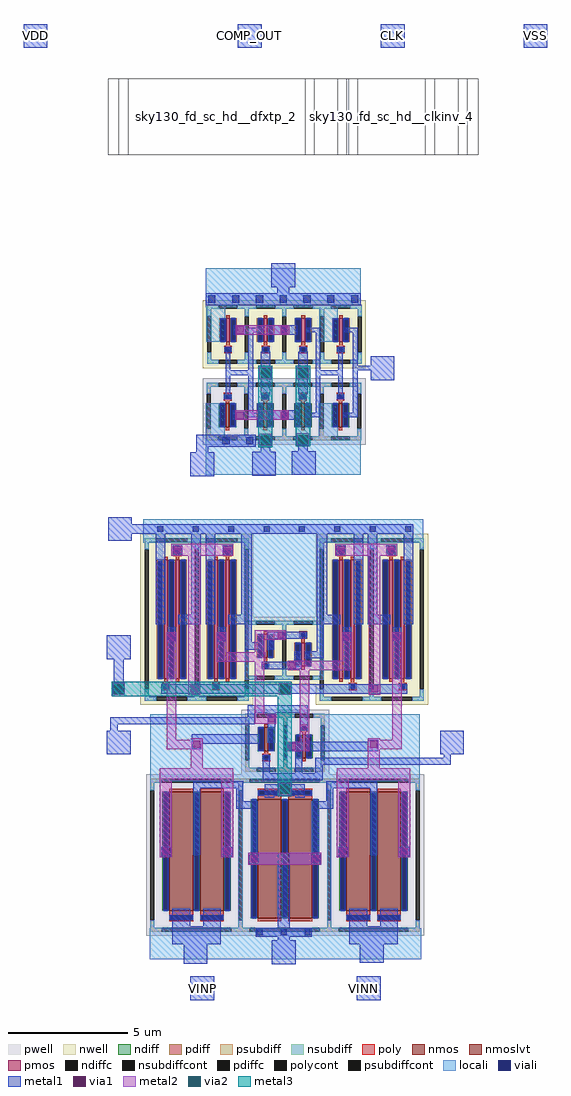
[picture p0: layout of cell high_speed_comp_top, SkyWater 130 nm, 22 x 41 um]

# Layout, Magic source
magic
tech sky130A
magscale 1 2
<< metal1 >>
rect -800 5400 -600 5600
rect 1000 5400 1200 5600
rect 2200 5400 2400 5600
rect 3400 5400 3600 5600
rect 600 -2600 800 -2400
rect 2000 -2600 2200 -2400
use strong_arm_latch_routed  x1
transform 1 0 -701 0 1 1063
box 600 -3363 3600 394
use post_amplifier_routed  x2
transform 1 0 -545 0 1 3167
box 1145 -1367 2860 422
use sky130_fd_sc_hd__dfxtp_2  x3 ~/old_home_mnt/asic/sky130_pdk/share/pdk/sky130A/libs.ref/sky130_fd_sc_hd/mag
transform 1 0 38 0 1 4548
box -38 -48 1602 592
use sky130_fd_sc_hd__clkinv_4  x4 ~/old_home_mnt/asic/sky130_pdk/share/pdk/sky130A/libs.ref/sky130_fd_sc_hd/mag
transform 1 0 1970 0 1 4548
box -38 -48 682 592
use sky130_fd_sc_hd__decap_3  x5 ~/old_home_mnt/asic/sky130_pdk/share/pdk/sky130A/libs.ref/sky130_fd_sc_hd/mag
transform 1 0 1602 0 1 4548
box -38 -48 314 592
use sky130_fd_sc_hd__tapvpwrvgnd_1  x6 ~/old_home_mnt/asic/sky130_pdk/share/pdk/sky130A/libs.ref/sky130_fd_sc_hd/mag
transform 1 0 1878 0 1 4548
box -38 -48 130 592
use sky130_fd_sc_hd__decap_3  x7
transform 1 0 2614 0 1 4548
box -38 -48 314 592
use sky130_fd_sc_hd__tapvpwrvgnd_1  x8
transform 1 0 2890 0 1 4548
box -38 -48 130 592
use sky130_fd_sc_hd__tapvpwrvgnd_1  x9
transform 1 0 -53 0 1 4548
box -38 -48 130 592
<< labels >>
flabel metal1 600 -2600 800 -2400 0 FreeSans 1600 0 0 0 VINP
port 0 nsew
flabel metal1 2000 -2600 2108 -2400 0 FreeSans 1600 0 0 0 VINN
port 1 nsew
flabel metal1 1000 5400 1200 5600 0 FreeSans 1600 0 0 0 COMP_OUT
port 5 nsew
flabel metal1 2200 5400 2400 5600 0 FreeSans 1600 0 0 0 CLK
port 4 nsew
flabel metal1 -800 5400 -600 5600 0 FreeSans 1600 0 0 0 VDD
port 2 nsew
flabel metal1 3400 5400 3600 5600 0 FreeSans 1600 0 0 0 VSS
port 3 nsew
<< end >>

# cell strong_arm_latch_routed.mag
magic
tech sky130A
magscale 1 2
<< metal1 >>
rect 610 194 810 394
rect 600 -800 800 -600
rect 600 -1600 800 -1400
rect 3400 -1600 3600 -1400
rect 1245 -3360 1445 -3160
rect 1986 -3363 2186 -3163
rect 2726 -3349 2926 -3149
rect 1153 79 1233 159
rect 1573 79 1653 159
rect 2529 79 2609 159
rect 2949 79 3029 159
rect 660 -1089 740 -660
rect 1057 -1089 3125 -1009
rect 668 254 1089 334
rect 1009 -505 1089 334
rect 1009 254 1391 334
rect 1311 -505 1391 334
rect 1201 -505 1391 -425
rect 1311 254 1509 334
rect 1429 -505 1509 334
rect 1429 254 1811 334
rect 1731 -505 1811 334
rect 1621 -505 1811 -425
rect 1731 254 1829 334
rect 1759 -719 1819 324
rect 1759 -719 1919 -659
rect 1749 254 2753 334
rect 2673 -505 2753 334
rect 2371 254 2753 334
rect 2371 -505 2451 334
rect 2371 -505 2561 -425
rect 2371 254 2871 334
rect 2791 -505 2871 334
rect 2791 -505 2981 -425
rect 2791 254 3173 334
rect 3093 -505 3173 334
rect 2353 254 3173 334
rect 2363 -791 2423 324
rect 2263 -791 2423 -731
rect 2036 -3313 2136 -3043
rect 2049 -3130 2323 -3056
rect 1849 -3130 2123 -3056
rect 2036 -3143 2136 -2427
rect 1270 -3335 1420 -3045
rect 1150 -3195 1420 -3045
rect 1150 -3195 1300 -2895
rect 1270 -3195 1558 -3045
rect 1408 -3195 1558 -2895
rect 2751 -3324 2901 -3045
rect 2637 -3195 2901 -3045
rect 2637 -3195 2787 -2895
rect 2751 -3195 3045 -3045
rect 2895 -3195 3045 -2895
rect 1324 -2445 1384 -1825
rect 1324 -1885 1747 -1825
rect 1687 -2055 1747 -1825
rect 1687 -2055 1867 -1995
rect 1807 -2507 1867 -1995
rect 2811 -2445 2871 -1825
rect 2443 -1885 2871 -1825
rect 2443 -2055 2503 -1825
rect 2323 -2055 2503 -1995
rect 2323 -2507 2383 -1995
rect 1056 -2455 1136 -2375
rect 1572 -2455 1652 -2375
rect 2543 -2455 2623 -2375
rect 3059 -2455 3139 -2375
rect 1314 -1555 1394 -1431
rect 1314 -1511 1885 -1431
rect 2801 -1573 2881 -1475
rect 2310 -1573 2881 -1493
rect 1909 -1816 1969 -1636
rect 1909 -1816 2242 -1756
rect 2182 -1816 2242 -1503
rect 2182 -1816 2412 -1756
rect 2352 -1816 2412 -1626
rect 2352 -1686 3490 -1626
rect 3430 -1686 3490 -1470
rect 2226 -1368 2286 -1188
rect 1953 -1248 2286 -1188
rect 1953 -1501 2013 -1188
rect 1783 -1248 2013 -1188
rect 1783 -1348 1843 -1188
rect 630 -1348 1843 -1288
rect 630 -1530 690 -1288
rect 1926 -1962 2006 -1852
rect 1926 -1932 2135 -1852
rect 2055 -1932 2264 -1852
rect 2184 -1962 2264 -1852
rect 1947 -627 2279 -567
rect 1947 -719 2007 -567
rect 1903 -883 2235 -823
rect 2175 -883 2235 -731
rect 2127 -1568 2247 -1498
rect 3002 -650 3072 -530
rect 1110 -650 1180 -530
rect 2582 -650 2652 -530
rect 1530 -650 1600 -530
rect 1797 -2517 1877 -2437
rect 2313 -2517 2393 -2437
<< via1 >>
rect 1163 89 1223 149
rect 1583 89 1643 149
rect 2539 89 2599 149
rect 2959 89 3019 149
rect 670 -1079 730 -1019
rect 1303 -1079 1363 -1019
rect 2819 -1079 2879 -1019
rect 1066 -2445 1126 -2385
rect 1582 -2445 1642 -2385
rect 2553 -2445 2613 -2385
rect 3069 -2445 3129 -2385
rect 1324 -1545 1384 -1485
rect 2811 -1545 2871 -1485
rect 2065 -1922 2125 -1862
rect 2065 -1080 2125 -1020
rect 2134 -1560 2189 -1505
rect 2134 -879 2189 -824
rect 1955 -1328 2010 -1273
rect 2035 -622 2090 -567
rect 3009 -642 3064 -587
rect 1117 -642 1172 -587
rect 2589 -642 2644 -587
rect 1537 -642 1592 -587
rect 1807 -2507 1867 -2447
rect 2323 -2507 2383 -2447
<< metal2 >>
rect 1143 69 1663 169
rect 2519 69 3039 169
rect 650 -1099 750 -999
rect 1283 -1099 1383 149
rect 2799 -1099 2899 149
rect 1046 -2465 1146 -1715
rect 1046 -1815 1662 -1715
rect 1562 -2465 1662 -1715
rect 2533 -2465 2633 -1715
rect 2533 -1815 3149 -1715
rect 3049 -2465 3149 -1715
rect 1304 -1815 1404 -1465
rect 2791 -1815 2891 -1465
rect 2045 -1942 2145 -1842
rect 2045 -1100 2145 -1000
rect 2122 -1573 2302 -1493
rect 2222 -1573 2302 -812
rect 2122 -892 2302 -812
rect 1843 -1341 2023 -1261
rect 1843 -1341 1923 -555
rect 1843 -635 2103 -555
rect 2997 -1555 3077 -575
rect 2801 -1555 3077 -1475
rect 1105 -1555 1185 -575
rect 1105 -1555 1394 -1475
rect 2577 -893 2657 -575
rect 2253 -893 2657 -813
rect 1525 -821 1605 -575
rect 1525 -821 1929 -741
rect 1787 -2527 2403 -2427
<< via2 >>
rect 660 -1089 740 -1009
rect 2055 -1932 2135 -1852
rect 2055 -1090 2135 -1010
<< metal3 >>
rect 640 -1109 2151 -989
rect 2035 -1952 2155 -990
<< viali >>
rect 1024 269 1074 319
rect 1321 269 1371 319
rect 1619 269 1669 319
rect 1917 269 1967 319
rect 2214 269 2264 319
rect 2512 269 2562 319
rect 2810 269 2860 319
rect 3108 269 3158 319
rect 2061 -3118 2111 -3068
rect 2261 -3118 2311 -3068
rect 1861 -3118 1911 -3068
<< locali >>
rect 960 -3320 3240 -3060
rect 1756 -500 2416 208
rect 906 180 3258 374
rect 966 -1820 1792 -1262
rect 1770 -1832 2432 -1714
rect 2400 -1820 3228 -1262
use sky130_fd_pr__nfet_01v8_lvt_GVGYYV  XM1
transform 1 0 1354 0 1 -2446
box -425 -679 425 679
use sky130_fd_pr__nfet_01v8_lvt_GVGYYV  XM2
transform 1 0 2841 0 1 -2446
box -425 -679 425 679
use sky130_fd_pr__nfet_01v8_lvt_URSRNG  XM3
transform 1 0 2095 0 1 -2446
box -425 -679 425 679
use sky130_fd_pr__nfet_01v8_CQH6Q5  XM4
transform 1 0 1939 0 1 -1502
box -211 -279 211 279
use sky130_fd_pr__nfet_01v8_WXMB3T  XM5
transform 1 0 2256 0 1 -1502
box -211 -279 211 279
use sky130_fd_pr__pfet_01v8_CZ2BPM  XM6
transform 1 0 1933 0 1 -725
box -211 -284 211 284
use sky130_fd_pr__pfet_01v8_NRXS53  XM7
transform 1 0 2249 0 1 -725
box -211 -284 211 284
use sky130_fd_pr__pfet_01v8_7PVLUA  XM8
transform 1 0 1565 0 1 -465
box -263 -719 263 719
use sky130_fd_pr__pfet_01v8_MV5BJT  XM9
transform 1 0 1145 0 1 -465
box -263 -719 263 719
use sky130_fd_pr__pfet_01v8_MV5BJT  XM10
transform -1 0 2617 0 1 -465
box -263 -719 263 719
use sky130_fd_pr__pfet_01v8_MV5BJT  XM11
transform -1 0 3037 0 1 -465
box -263 -719 263 719
<< labels >>
flabel metal1 1245 -3360 1445 -3160 0 FreeSans 256 0 0 0 VINP
port 5 nsew
flabel metal1 1986 -3363 2186 -3163 0 FreeSans 256 0 0 0 VSS
port 4 nsew
flabel metal1 2726 -3349 2926 -3149 0 FreeSans 256 0 0 0 VINN
port 6 nsew
flabel metal1 610 194 807 394 0 FreeSans 256 0 0 0 VDD
port 0 nsew
flabel metal1 604 -800 797 -600 0 FreeSans 256 0 0 0 CLK
port 1 nsew
flabel metal1 600 -1600 800 -1400 0 FreeSans 256 0 0 0 VOUT_PLUS
port 2 nsew
flabel metal1 3400 -1600 3600 -1400 0 FreeSans 256 0 0 0 VOUT_MINUS
port 3 nsew
<< end >>

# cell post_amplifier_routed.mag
magic
tech sky130A
magscale 1 2
<< metal1 >>
rect 1735 -540 1815 -460
rect 1735 -1301 1815 -1021
rect 1724 -1301 1815 -1221
rect 1664 -1361 1864 -1161
rect 2051 -540 2131 -460
rect 2051 -1296 2131 -1016
rect 2051 -1296 2138 -1216
rect 1998 -1356 2198 -1156
rect 2387 -718 2427 -282
rect 2431 -873 2551 -833
rect 2511 -873 2551 -438
rect 2511 -478 2780 -438
rect 2511 -478 2551 -118
rect 2434 -158 2551 -118
rect 2118 -158 2238 -118
rect 2198 -516 2238 -118
rect 2198 -516 2427 -476
rect 2198 -873 2238 -476
rect 2115 -873 2238 -833
rect 2054 -678 2134 -322
rect 1738 -678 1818 -322
rect 1442 -718 1482 -282
rect 1634 -158 1754 -118
rect 1634 -516 1674 -118
rect 1442 -516 1674 -476
rect 1634 -873 1674 -476
rect 1634 -873 1751 -833
rect 2660 -558 2860 -358
rect 1822 -178 2050 -98
rect 1819 -893 2047 -813
rect 1506 -178 1606 -98
rect 1503 -893 1603 -813
rect 1826 222 2026 422
rect 1876 72 1976 372
rect 1676 72 1976 172
rect 1476 72 1776 172
rect 1276 72 1576 172
rect 1876 72 2176 172
rect 2076 72 2376 172
rect 2276 72 2576 172
rect 1145 -1367 1345 -1167
rect 1195 -1317 1295 -1017
rect 1195 -1117 1495 -1017
rect 1395 -1117 1695 -1017
<< via1 >>
rect 1745 -530 1805 -470
rect 1745 -1091 1805 -1031
rect 2061 -530 2121 -470
rect 2061 -1086 2121 -1026
rect 1536 -168 1596 -108
rect 1906 -168 1966 -108
rect 1533 -883 1593 -823
rect 1903 -883 1963 -823
<< metal2 >>
rect 1725 -550 1825 -450
rect 1725 -1111 1825 -1011
rect 2041 -550 2141 -450
rect 2041 -1106 2141 -1006
rect 1526 -178 1976 -98
rect 1523 -893 1973 -813
<< via2 >>
rect 1735 -540 1815 -460
rect 1735 -1101 1815 -1021
rect 2051 -540 2131 -460
rect 2051 -1096 2131 -1016
<< metal3 >>
rect 1715 -1121 1835 -440
rect 2031 -1116 2151 -440
<< locali >>
rect 2225 -1053 2383 -753
rect 2228 -238 2386 62
rect 1277 -1053 1435 -753
rect 1280 -238 1438 62
rect 1274 54 2578 382
rect 1274 -1356 2578 -1034
<< viali >>
rect 1896 92 1956 152
rect 1696 92 1756 152
rect 1496 92 1556 152
rect 1296 92 1356 152
rect 2096 92 2156 152
rect 2296 92 2356 152
rect 2496 92 2556 152
rect 1415 -1097 1475 -1037
rect 1615 -1097 1675 -1037
use sky130_fd_pr__nfet_01v8_D6NL62  XM1
transform 1 0 1775 0 1 -822
box -211 -279 211 279
use sky130_fd_pr__nfet_01v8_D6NL62  XM2
transform 1 0 2091 0 1 -822
box -211 -279 211 279
use sky130_fd_pr__nfet_01v8_D6NL62  XM3
transform 1 0 1459 0 1 -822
box -211 -279 211 279
use sky130_fd_pr__pfet_01v8_5ETXLA  XM4
transform 1 0 1778 0 1 -174
box -211 -284 211 284
use sky130_fd_pr__pfet_01v8_5ETXLA  XM5
transform 1 0 2094 0 1 -174
box -211 -284 211 284
use sky130_fd_pr__pfet_01v8_5ETXLA  XM6
transform 1 0 1462 0 1 -174
box -211 -284 211 284
use sky130_fd_pr__nfet_01v8_D6NL62  XM7
transform 1 0 2407 0 1 -822
box -211 -279 211 279
use sky130_fd_pr__pfet_01v8_5ETXLA  XM8
transform 1 0 2410 0 1 -174
box -211 -284 211 284
<< labels >>
flabel metal1 1826 222 2026 422 0 FreeSans 256 0 0 0 VDD
port 0 nsew
flabel metal1 2660 -558 2860 -358 0 FreeSans 256 0 0 0 VOUT
port 3 nsew
flabel metal1 1145 -1367 1345 -1167 0 FreeSans 256 0 0 0 VSS
port 4 nsew
flabel metal1 1664 -1361 1864 -1161 0 FreeSans 256 0 0 0 VLAT_PLUS
port 1 nsew
flabel metal1 1998 -1356 2198 -1156 0 FreeSans 256 0 0 0 VLAT_MINUS
port 2 nsew
<< end >>

# cell sky130_fd_pr__nfet_01v8_D6NL62: kit device sky130_fd_pr__nfet_01v8, w 1.0 l 0.15 m 1 nf 1 diffcov 100 polycov 100 guard 1 glc 1 grc 1 gtc 1 gbc 1 tbcov 100 rlcov 100 topc 1 botc 0 poverlap 0 doverlap 1 lmin 0.15 wmin 0.42 class mosfet compatible {sky130_fd_pr__nfet_01v8 sky130_fd_pr__nfet_01v8_lvt sky130_fd_bs_flash__special_sonosfet_star sky130_fd_pr__nfet_g5v0d10v5 sky130_fd_pr__nfet_05v0_nvt sky130_fd_pr__nfet_03v3_nvt} full_metal 1 viasrc 100 viadrn 100 viagate 100 viagb 0 viagr 0 viagl 0 viagt 0

# cell sky130_fd_pr__pfet_01v8_5ETXLA: kit device sky130_fd_pr__pfet_01v8, w 1.0 l 0.15 m 1 nf 1 diffcov 100 polycov 100 guard 1 glc 1 grc 1 gtc 1 gbc 1 tbcov 100 rlcov 100 topc 0 botc 1 poverlap 0 doverlap 1 lmin 0.15 wmin 0.42 class mosfet compatible {sky130_fd_pr__pfet_01v8 sky130_fd_pr__pfet_01v8_lvt sky130_fd_pr__pfet_01v8_hvt sky130_fd_pr__pfet_g5v0d10v5} full_metal 1 viasrc 100 viadrn 100 viagate 100 viagb 0 viagr 0 viagl 0 viagt 0

# cell sky130_fd_pr__nfet_01v8_lvt_GVGYYV: kit device sky130_fd_pr__nfet_01v8_lvt, w 5 l 1.0 m 1 nf 2 diffcov 100 polycov 100 guard 1 glc 1 grc 1 gtc 1 gbc 1 tbcov 100 rlcov 100 topc 0 botc 1 poverlap 0 doverlap 1 lmin 0.15 wmin 0.42 class mosfet compatible {sky130_fd_pr__nfet_01v8 sky130_fd_pr__nfet_01v8_lvt sky130_fd_bs_flash__special_sonosfet_star sky130_fd_pr__nfet_g5v0d10v5 sky130_fd_pr__nfet_05v0_nvt sky130_fd_pr__nfet_03v3_nvt} full_metal 1 viasrc 100 viadrn 100 viagate 100 viagb 0 viagr 0 viagl 0 viagt 0

# cell sky130_fd_pr__nfet_01v8_lvt_URSRNG: kit device sky130_fd_pr__nfet_01v8_lvt, w 5 l 1.0 m 1 nf 2 diffcov 100 polycov 100 guard 1 glc 0 grc 0 gtc 1 gbc 1 tbcov 100 rlcov 100 topc 1 botc 0 poverlap 0 doverlap 1 lmin 0.15 wmin 0.42 class mosfet compatible {sky130_fd_pr__nfet_01v8 sky130_fd_pr__nfet_01v8_lvt sky130_fd_bs_flash__special_sonosfet_star sky130_fd_pr__nfet_g5v0d10v5 sky130_fd_pr__nfet_05v0_nvt sky130_fd_pr__nfet_03v3_nvt} full_metal 1 viasrc 100 viadrn 100 viagate 100 viagb 0 viagr 0 viagl 0 viagt 0

# cell sky130_fd_pr__nfet_01v8_CQH6Q5: kit device sky130_fd_pr__nfet_01v8, w 1.0 l 0.15 m 1 nf 1 diffcov 100 polycov 100 guard 1 glc 1 grc 1 gtc 1 gbc 1 tbcov 100 rlcov 100 topc 0 botc 1 poverlap 0 doverlap 1 lmin 0.15 wmin 0.42 class mosfet compatible {sky130_fd_pr__nfet_01v8 sky130_fd_pr__nfet_01v8_lvt sky130_fd_bs_flash__special_sonosfet_star sky130_fd_pr__nfet_g5v0d10v5 sky130_fd_pr__nfet_05v0_nvt sky130_fd_pr__nfet_03v3_nvt} full_metal 1 viasrc 100 viadrn 100 viagate 100 viagb 0 viagr 0 viagl 0 viagt 0

# cell sky130_fd_pr__nfet_01v8_WXMB3T: kit device sky130_fd_pr__nfet_01v8, w 1.0 l 0.15 m 1 nf 1 diffcov 100 polycov 100 guard 1 glc 0 grc 1 gtc 1 gbc 1 tbcov 100 rlcov 100 topc 1 botc 0 poverlap 0 doverlap 1 lmin 0.15 wmin 0.42 class mosfet compatible {sky130_fd_pr__nfet_01v8 sky130_fd_pr__nfet_01v8_lvt sky130_fd_bs_flash__special_sonosfet_star sky130_fd_pr__nfet_g5v0d10v5 sky130_fd_pr__nfet_05v0_nvt sky130_fd_pr__nfet_03v3_nvt} full_metal 1 viasrc 100 viadrn 100 viagate 100 viagb 0 viagr 0 viagl 0 viagt 0

# cell sky130_fd_pr__pfet_01v8_CZ2BPM: kit device sky130_fd_pr__pfet_01v8, w 1.0 l 0.15 m 1 nf 1 diffcov 100 polycov 100 guard 1 glc 0 grc 1 gtc 1 gbc 1 tbcov 100 rlcov 100 topc 0 botc 1 poverlap 0 doverlap 1 lmin 0.15 wmin 0.42 class mosfet compatible {sky130_fd_pr__pfet_01v8 sky130_fd_pr__pfet_01v8_lvt sky130_fd_pr__pfet_01v8_hvt sky130_fd_pr__pfet_g5v0d10v5} full_metal 1 viasrc 100 viadrn 100 viagate 100 viagb 0 viagr 0 viagl 0 viagt 0

# cell sky130_fd_pr__pfet_01v8_NRXS53: kit device sky130_fd_pr__pfet_01v8, w 1.0 l 0.15 m 1 nf 1 diffcov 100 polycov 100 guard 1 glc 1 grc 0 gtc 1 gbc 1 tbcov 100 rlcov 100 topc 1 botc 0 poverlap 0 doverlap 1 lmin 0.15 wmin 0.42 class mosfet compatible {sky130_fd_pr__pfet_01v8 sky130_fd_pr__pfet_01v8_lvt sky130_fd_pr__pfet_01v8_hvt sky130_fd_pr__pfet_g5v0d10v5} full_metal 1 viasrc 100 viadrn 100 viagate 100 viagb 0 viagr 0 viagl 0 viagt 0

# cell sky130_fd_pr__pfet_01v8_7PVLUA: kit device sky130_fd_pr__pfet_01v8, w 5 l 0.15 m 1 nf 2 diffcov 100 polycov 100 guard 1 glc 1 grc 1 gtc 1 gbc 1 tbcov 100 rlcov 100 topc 0 botc 0 poverlap 0 doverlap 1 lmin 0.15 wmin 0.42 class mosfet compatible {sky130_fd_pr__pfet_01v8 sky130_fd_pr__pfet_01v8_lvt sky130_fd_pr__pfet_01v8_hvt sky130_fd_pr__pfet_g5v0d10v5} full_metal 1 viasrc 100 viadrn 100 viagate 100 viagb 0 viagr 0 viagl 0 viagt 0

# cell sky130_fd_pr__pfet_01v8_MV5BJT: kit device sky130_fd_pr__pfet_01v8, w 5 l 0.15 m 1 nf 2 diffcov 100 polycov 100 guard 1 glc 1 grc 1 gtc 1 gbc 1 tbcov 100 rlcov 100 topc 1 botc 1 poverlap 0 doverlap 1 lmin 0.15 wmin 0.42 class mosfet compatible {sky130_fd_pr__pfet_01v8 sky130_fd_pr__pfet_01v8_lvt sky130_fd_pr__pfet_01v8_hvt sky130_fd_pr__pfet_g5v0d10v5} full_metal 1 viasrc 100 viadrn 100 viagate 100 viagb 0 viagr 0 viagl 0 viagt 0
